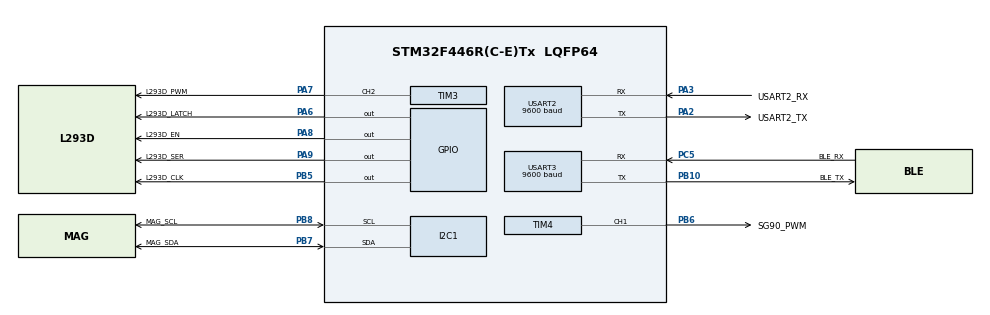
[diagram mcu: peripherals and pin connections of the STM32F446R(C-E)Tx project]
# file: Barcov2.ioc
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Mcu.Family=STM32F4
Mcu.Name=STM32F446R(C-E)Tx
Mcu.Package=LQFP64
NVIC.PriorityGroup=NVIC_PRIORITYGROUP_4
NVIC.USART3_IRQn=true\:0\:0\:false\:false\:true\:true\:true\:true
PA2.GPIO_Label=USART2_TX
PA2.Mode=Asynchronous
PA2.Signal=USART2_TX
PA3.GPIO_Label=USART2_RX
PA3.Mode=Asynchronous
PA3.Signal=USART2_RX
PA6.GPIO_Label=L293D_LATCH
PA6.Signal=GPIO_Output
PA7.GPIO_Label=L293D_PWM
PA7.Signal=S_TIM3_CH2
PA8.GPIO_Label=L293D_EN
PA8.Signal=GPIO_Output
PA9.GPIO_Label=L293D_SER
PA9.Signal=GPIO_Output
PB10.GPIO_Label=BLE_TX
PB10.Mode=Asynchronous
PB10.Signal=USART3_TX
PB5.GPIO_Label=L293D_CLK
PB5.Signal=GPIO_Output
PB6.GPIO_Label=SG90_PWM
PB6.Signal=S_TIM4_CH1
PB7.GPIO_Label=MAG_SDA
PB7.Mode=I2C
PB7.Signal=I2C1_SDA
PB8.GPIO_Label=MAG_SCL
PB8.Mode=I2C
PB8.Signal=I2C1_SCL
PC5.GPIO_Label=BLE_RX
PC5.Mode=Asynchronous
PC5.Signal=USART3_RX
ProjectManager.HeapSize=0x200
ProjectManager.StackSize=0x400
ProjectManager.TargetToolchain=STM32CubeIDE
RCC.AHBFreq_Value=16000000
RCC.APB1CLKDivider=RCC_HCLK_DIV8
RCC.APB1Freq_Value=2000000
RCC.APB1TimFreq_Value=4000000
RCC.APB2Freq_Value=16000000
RCC.APB2TimFreq_Value=16000000
RCC.CortexFreq_Value=16000000
RCC.HCLKFreq_Value=16000000
RCC.USBFreq_Value=96000000
RCC.VCOOutputFreq_Value=192000000
SH.S_TIM3_CH2.0=TIM3_CH2,PWM Generation2 CH2
SH.S_TIM4_CH1.0=TIM4_CH1,PWM Generation1 CH1
TIM3.Channel-PWM\ Generation2\ CH2=TIM_CHANNEL_2
TIM3.Period=1250
TIM3.Prescaler=64-1
TIM4.Channel-PWM\ Generation1\ CH1=TIM_CHANNEL_1
TIM4.Period=1250
TIM4.Prescaler=64-1
USART2.BaudRate=9600
USART2.VirtualMode=VM_ASYNC
USART3.BaudRate=9600
USART3.VirtualMode=VM_ASYNC
board=custom

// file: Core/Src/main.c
/* USER CODE BEGIN Header */
/**
 * Projeto: Trabalho final da disciplina de projeto de sistemas embarcados
 * Descrição: Desenvolvimento do código de um sistema embarcado para controle de um barco
 *
 * Autores:
 * - Tarcisio Lucas Cairo Carvalho
 * - Filipe Campos Reis
 * - Pedro de Araujo Cruz
 *
 * Disciplina: Programação de Sistemas Embarcados
 * Universidade: Universidade Federal de Minas Gerais (UFMG)
 * Data de Criação: Dezembro de 2024
 *
 */
/* USER CODE END Header */
#include "main.h"
/* USER CODE BEGIN Includes */
#include "HMC5883L.h"
#include "I2Cdev.h"
#include "boatCompass.h"
#include "boatEngine.h"
#include "boatServo.h"
#include <string.h>
#include <stdio.h>
#include <stdlib.h>
#include <stdint.h>
#include <assert.h>
#include "JDY-18.h"
#include "location_service.h"
#include "PID.h"
/* USER CODE END Includes */

I2C_HandleTypeDef hi2c1;

TIM_HandleTypeDef htim3;
TIM_HandleTypeDef htim4;

UART_HandleTypeDef huart2;
UART_HandleTypeDef huart3;

location_t location;

scan_t testDevices;

/* USER CODE BEGIN PV */
int16_t boatPos;
bool connection;
int iniciou = 0;
int16_t direction;
uint16_t servoPosition;
float arrivalAngle;
float_t angleControlAction;

#define SERVO_CONTROLLER_KP 1.57
#define SERVO_CONTROLLER_KI 0.25
#define SERVO_CONTROLLER_KD 0

#define SERVO_MAX_ANGLE 180
#define SERVO_MIN_ANGLE 0

#define CYCLE_PERIOD_MS 3000

float kp = (float) SERVO_CONTROLLER_KP;
float ki = (float) SERVO_CONTROLLER_KI;
float kd = (float) SERVO_CONTROLLER_KD;

float servoMax = (float) SERVO_MAX_ANGLE;
float servoMin = (float) SERVO_MIN_ANGLE;

PID_Controller_t servoPidController;

/* USER CODE END PV */

void SystemClock_Config(void);
static void MX_GPIO_Init(void);
static void MX_I2C1_Init(void);
static void MX_TIM4_Init(void);
static void MX_USART2_UART_Init(void);
static void MX_USART3_UART_Init(void);
static void MX_TIM3_Init(void);

int main(void)
{

  /* MCU Configuration--------------------------------------------------------*/

  /* Reset of all peripherals, Initializes the Flash interface and the Systick. */
  HAL_Init();

  /* USER CODE BEGIN Init */;

//  /* USER CODE END Init */

  /* Configure the system clock */
  SystemClock_Config();

  /* Initialize all configured peripherals */
  MX_GPIO_Init();
  MX_I2C1_Init();
  MX_TIM4_Init();
  MX_USART2_UART_Init();
  MX_USART3_UART_Init();
  MX_TIM3_Init();

  /* USER CODE BEGIN 2 */
  PID_Create(&servoPidController, kp, ki, kd, CYCLE_PERIOD_MS);
  PID_SetSaturationLimits(&servoPidController, servoMin, servoMax);
  HMC5883L_initialize();
  I2Cdev_init(&hi2c1);
  LocationService_Init(&huart3);
  setServoPosition(180, &htim4);
  processCompassCalibration();
  HAL_Delay(13000);
  changeDCMotorDirection('t');
  changeDCMotorSpeed(16800, &htim3);
  setServoPosition(90, &htim4);
  HAL_Delay(45000);

  /* USER CODE END 2 */
  /* Infinite loop */
  /* USER CODE BEGIN WHILE */
  while (1)
  {
		iniciou += 1;
		LocationService_UpdateLocation(&huart3);
		location = LocationService_GetLocation();
		direction = readDirection();
		arrivalAngle = LocationService_GetArrivalAngle()+120;

		PID_SetSetpoint(&servoPidController, arrivalAngle);
		PID_ProcessInput(&servoPidController, direction);
		angleControlAction = -(((int)arrivalAngle - direction)) % 180 ;
		setServoPosition(angleControlAction, &htim4);

  }
  /* USER CODE END 3 */
}

void SystemClock_Config(void)
{
  RCC_OscInitTypeDef RCC_OscInitStruct = {0};
  RCC_ClkInitTypeDef RCC_ClkInitStruct = {0};

  /** Configure the main internal regulator output voltage
   */
  __HAL_RCC_PWR_CLK_ENABLE();
  __HAL_PWR_VOLTAGESCALING_CONFIG(PWR_REGULATOR_VOLTAGE_SCALE3);

  /** Initializes the RCC Oscillators according to the specified parameters
   * in the RCC_OscInitTypeDef structure.
   */
  RCC_OscInitStruct.OscillatorType = RCC_OSCILLATORTYPE_HSI;
  RCC_OscInitStruct.HSIState = RCC_HSI_ON;
  RCC_OscInitStruct.HSICalibrationValue = RCC_HSICALIBRATION_DEFAULT;
  RCC_OscInitStruct.PLL.PLLState = RCC_PLL_NONE;
  if (HAL_RCC_OscConfig(&RCC_OscInitStruct) != HAL_OK)
  {
    Error_Handler();
  }

  /** Initializes the CPU, AHB and APB buses clocks
   */
  RCC_ClkInitStruct.ClockType = RCC_CLOCKTYPE_HCLK | RCC_CLOCKTYPE_SYSCLK | RCC_CLOCKTYPE_PCLK1 | RCC_CLOCKTYPE_PCLK2;
  RCC_ClkInitStruct.SYSCLKSource = RCC_SYSCLKSOURCE_HSI;
  RCC_ClkInitStruct.AHBCLKDivider = RCC_SYSCLK_DIV1;
  RCC_ClkInitStruct.APB1CLKDivider = RCC_HCLK_DIV8;
  RCC_ClkInitStruct.APB2CLKDivider = RCC_HCLK_DIV1;

  if (HAL_RCC_ClockConfig(&RCC_ClkInitStruct, FLASH_LATENCY_0) != HAL_OK)
  {
    Error_Handler();
  }
}

static void MX_I2C1_Init(void)
{

  hi2c1.Instance = I2C1;
  hi2c1.Init.ClockSpeed = 100000;
  hi2c1.Init.DutyCycle = I2C_DUTYCYCLE_2;
  hi2c1.Init.OwnAddress1 = 0;
  hi2c1.Init.AddressingMode = I2C_ADDRESSINGMODE_7BIT;
  hi2c1.Init.DualAddressMode = I2C_DUALADDRESS_DISABLE;
  hi2c1.Init.OwnAddress2 = 0;
  hi2c1.Init.GeneralCallMode = I2C_GENERALCALL_DISABLE;
  hi2c1.Init.NoStretchMode = I2C_NOSTRETCH_DISABLE;
  if (HAL_I2C_Init(&hi2c1) != HAL_OK)
  {
    Error_Handler();
  }
}

static void MX_TIM3_Init(void)
{

  TIM_MasterConfigTypeDef sMasterConfig = {0};
  TIM_OC_InitTypeDef sConfigOC = {0};

  htim3.Instance = TIM3;
  htim3.Init.Prescaler = 64 - 1;
  htim3.Init.CounterMode = TIM_COUNTERMODE_UP;
  htim3.Init.Period = 1250;
  htim3.Init.ClockDivision = TIM_CLOCKDIVISION_DIV1;
  htim3.Init.AutoReloadPreload = TIM_AUTORELOAD_PRELOAD_DISABLE;
  if (HAL_TIM_PWM_Init(&htim3) != HAL_OK)
  {
    Error_Handler();
  }
  sMasterConfig.MasterOutputTrigger = TIM_TRGO_RESET;
  sMasterConfig.MasterSlaveMode = TIM_MASTERSLAVEMODE_DISABLE;
  if (HAL_TIMEx_MasterConfigSynchronization(&htim3, &sMasterConfig) != HAL_OK)
  {
    Error_Handler();
  }
  sConfigOC.OCMode = TIM_OCMODE_PWM1;
  sConfigOC.Pulse = 0;
  sConfigOC.OCPolarity = TIM_OCPOLARITY_HIGH;
  sConfigOC.OCFastMode = TIM_OCFAST_DISABLE;
  if (HAL_TIM_PWM_ConfigChannel(&htim3, &sConfigOC, TIM_CHANNEL_2) != HAL_OK)
  {
    Error_Handler();
  }
  HAL_TIM_MspPostInit(&htim3);
}

static void MX_TIM4_Init(void)
{

  TIM_MasterConfigTypeDef sMasterConfig = {0};
  TIM_OC_InitTypeDef sConfigOC = {0};

  htim4.Instance = TIM4;
  htim4.Init.Prescaler = 64 - 1;
  htim4.Init.CounterMode = TIM_COUNTERMODE_UP;
  htim4.Init.Period = 1250;
  htim4.Init.ClockDivision = TIM_CLOCKDIVISION_DIV1;
  htim4.Init.AutoReloadPreload = TIM_AUTORELOAD_PRELOAD_DISABLE;
  if (HAL_TIM_PWM_Init(&htim4) != HAL_OK)
  {
    Error_Handler();
  }
  sMasterConfig.MasterOutputTrigger = TIM_TRGO_RESET;
  sMasterConfig.MasterSlaveMode = TIM_MASTERSLAVEMODE_DISABLE;
  if (HAL_TIMEx_MasterConfigSynchronization(&htim4, &sMasterConfig) != HAL_OK)
  {
    Error_Handler();
  }
  sConfigOC.OCMode = TIM_OCMODE_PWM1;
  sConfigOC.Pulse = 0;
  sConfigOC.OCPolarity = TIM_OCPOLARITY_HIGH;
  sConfigOC.OCFastMode = TIM_OCFAST_DISABLE;
  if (HAL_TIM_PWM_ConfigChannel(&htim4, &sConfigOC, TIM_CHANNEL_1) != HAL_OK)
  {
    Error_Handler();
  }
  HAL_TIM_MspPostInit(&htim4);
}

static void MX_USART2_UART_Init(void)
{

  huart2.Instance = USART2;
  huart2.Init.BaudRate = 9600;
  huart2.Init.WordLength = UART_WORDLENGTH_8B;
  huart2.Init.StopBits = UART_STOPBITS_1;
  huart2.Init.Parity = UART_PARITY_NONE;
  huart2.Init.Mode = UART_MODE_TX_RX;
  huart2.Init.HwFlowCtl = UART_HWCONTROL_NONE;
  huart2.Init.OverSampling = UART_OVERSAMPLING_16;
  if (HAL_UART_Init(&huart2) != HAL_OK)
  {
    Error_Handler();
  }
}

static void MX_USART3_UART_Init(void)
{

  huart3.Instance = USART3;
  huart3.Init.BaudRate = 9600;
  huart3.Init.WordLength = UART_WORDLENGTH_8B;
  huart3.Init.StopBits = UART_STOPBITS_1;
  huart3.Init.Parity = UART_PARITY_NONE;
  huart3.Init.Mode = UART_MODE_TX_RX;
  huart3.Init.HwFlowCtl = UART_HWCONTROL_NONE;
  huart3.Init.OverSampling = UART_OVERSAMPLING_16;
  if (HAL_UART_Init(&huart3) != HAL_OK)
  {
    Error_Handler();
  }
}

static void MX_GPIO_Init(void)
{
  GPIO_InitTypeDef GPIO_InitStruct = {0};

  /* GPIO Ports Clock Enable */
  __HAL_RCC_GPIOA_CLK_ENABLE();
  __HAL_RCC_GPIOC_CLK_ENABLE();
  __HAL_RCC_GPIOB_CLK_ENABLE();

  /*Configure GPIO pin Output Level */
  HAL_GPIO_WritePin(GPIOA, L293D_LATCH_Pin | L293D_EN_Pin | L293D_SER_Pin, GPIO_PIN_RESET);

  /*Configure GPIO pin Output Level */
  HAL_GPIO_WritePin(L293D_CLK_GPIO_Port, L293D_CLK_Pin, GPIO_PIN_RESET);

  /*Configure GPIO pins : L293D_LATCH_Pin L293D_EN_Pin L293D_SER_Pin */
  GPIO_InitStruct.Pin = L293D_LATCH_Pin | L293D_EN_Pin | L293D_SER_Pin;
  GPIO_InitStruct.Mode = GPIO_MODE_OUTPUT_PP;
  GPIO_InitStruct.Pull = GPIO_NOPULL;
  GPIO_InitStruct.Speed = GPIO_SPEED_FREQ_LOW;
  HAL_GPIO_Init(GPIOA, &GPIO_InitStruct);

  /*Configure GPIO pin : L293D_CLK_Pin */
  GPIO_InitStruct.Pin = L293D_CLK_Pin;
  GPIO_InitStruct.Mode = GPIO_MODE_OUTPUT_PP;
  GPIO_InitStruct.Pull = GPIO_NOPULL;
  GPIO_InitStruct.Speed = GPIO_SPEED_FREQ_LOW;
  HAL_GPIO_Init(L293D_CLK_GPIO_Port, &GPIO_InitStruct);

}

/* USER CODE BEGIN 4 */
//void HAL_UART_RxCpltCallback(UART_HandleTypeDef *huart) {
//
//}
/* USER CODE END 4 */

void Error_Handler(void)
{
  __disable_irq();
  while (1)
  {
  }
}
